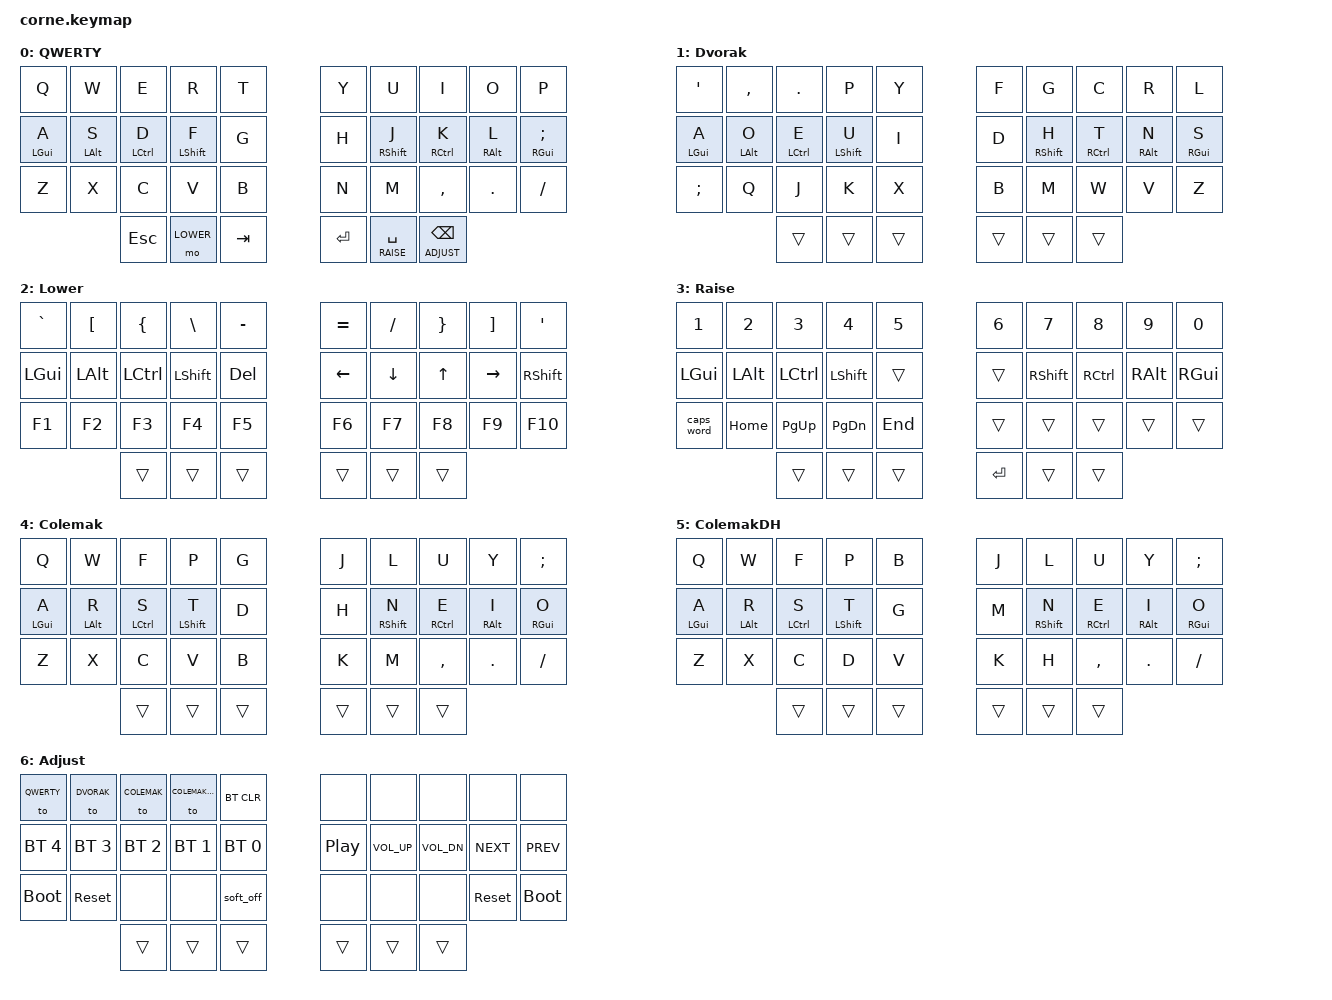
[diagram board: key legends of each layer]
/*
 * Copyright (c) 2020 The ZMK Contributors
 *
 * SPDX-License-Identifier: MIT
 */

#include <behaviors.dtsi>
#include <dt-bindings/zmk/keys.h>
#include <dt-bindings/zmk/bt.h>

#define QWERTY    0
#define DVORAK    1
#define LOWER     2
#define RAISE     3
#define COLEMAK   4
#define COLEMAKDH 5
#define ADJUST    6

&lt {
    tapping-term-ms = <200>;
    flavor = "tap-preferred";
    quick-tap-ms = <175>;
};

/ {
        behaviors {
                // Positional home-row mods: a mod only engages when the next key
                // is on the OPPOSITE hand, so same-hand rolls can never misfire.
                // Positions are 0-indexed in keymap binding order:
                //   left  hand = 0-4, 10-14, 20-24, 30-32
                //   right hand = 5-9, 15-19, 25-29, 33-35
                // The home-row mods sit at 10-13 (left) and 16-19 (right) in all
                // four layout layers, so one pair of behaviors covers them all.

                hml: home_row_mod_left {
                        compatible = "zmk,behavior-hold-tap";
                        #binding-cells = <2>;
                        bindings = <&kp>, <&kp>;
                        flavor = "balanced";
                        tapping-term-ms = <280>;
                        quick-tap-ms = <175>;
                        require-prior-idle-ms = <150>;
                        hold-trigger-key-positions = <5 6 7 8 9 15 16 17 18 19 25 26 27 28 29 33 34 35>;
                        hold-trigger-on-release;
                };

                hmr: home_row_mod_right {
                        compatible = "zmk,behavior-hold-tap";
                        #binding-cells = <2>;
                        bindings = <&kp>, <&kp>;
                        flavor = "balanced";
                        tapping-term-ms = <280>;
                        quick-tap-ms = <175>;
                        require-prior-idle-ms = <150>;
                        hold-trigger-key-positions = <0 1 2 3 4 10 11 12 13 14 20 21 22 23 24 30 31 32>;
                        hold-trigger-on-release;
                };
        };

        keymap {
                compatible = "zmk,keymap";

                qwerty_layer {
                        display-name = "QWERTY";
// -----------------------------------------------------------------------------------------
// |  Q  |    W    |    E    |    R    |  T  |   |  Y  |    U    |    I    |    O    |    P    |
// | mt(LGUI)A | mt(LALT)S | mt(LCTL)D | mt(LSFT)F |  G  |   |  H  | mt(RSFT)J | mt(RCTL)K | mt(RALT)L | mt(RGUI); |
// |  Z  |    X    |    C    |    V    |  B  |   |  N  |    M    |    ,    |    .    |    /    |
//                     | ESC | mo LOWER | TAB |   | ENT | lt RAISE SPC | lt ADJUST BSPC |
                        bindings = <
   &kp Q        &kp W        &kp E          &kp R          &kp T        &kp Y      &kp U          &kp I          &kp O        &kp P
   &hml LGUI A   &hml LALT S   &hml LCTRL D    &hml LSHIFT F   &kp G        &kp H      &hmr RSHIFT J   &hmr RCTRL K    &hmr RALT L   &hmr RGUI SEMI
   &kp Z        &kp X        &kp C          &kp V          &kp B        &kp N      &kp M          &kp COMMA      &kp DOT      &kp FSLH
                                 &kp ESC        &mo LOWER      &kp TAB      &kp ENTER  &lt RAISE SPACE    &lt ADJUST BSPC
                        >;
                };

                dvorak_layer {
                        display-name = "Dvorak";
// -----------------------------------------------------------------------------------------
// |   '   |     ,     |     .     |     P     |   Y   |   |   F   |     G     |     C     |     R     |     L     |
// | mt(LGUI)A | mt(LALT)O | mt(LCTL)E | mt(LSFT)U |   I   |   |   D   | mt(RSFT)H | mt(RCTL)T | mt(RALT)N | mt(RGUI)S |
// |   ;   |     Q     |     J     |     K     |   X   |   |   B   |     M     |     W     |     V     |     Z     |
//                     |     |     |     |   |     |     |     |
                        bindings = <
   &kp SQT        &kp COMMA      &kp DOT        &kp P          &kp Y        &kp F      &kp G          &kp C          &kp R        &kp L
   &hml LGUI A     &hml LALT O     &hml LCTRL E    &hml LSHIFT U   &kp I        &kp D      &hmr RSHIFT H   &hmr RCTRL T    &hmr RALT N   &hmr RGUI S
   &kp SEMI       &kp Q          &kp J          &kp K          &kp X        &kp B      &kp M          &kp W          &kp V        &kp Z
                             &trans         &trans         &trans       &trans     &trans         &trans
                        >;
                };

                lower_layer {
                        display-name = "Lower";
// -----------------------------------------------------------------------------------------
// |  `  |  [  |  {  |  \  |  -  |   |  =  |  /  |  }  |  ]  |  '  |
// | LGUI| LALT| LCTL| LSFT| DEL |   | LEFT| DOWN|  UP | RGT |RSFT |
// |  F1 |  F2 |  F3 |  F4 |  F5 |   |  F6 |  F7 |  F8 |  F9 | F10 |
//             |     |     |     |   |     |     |     |
                        bindings = <
   &kp GRAVE   &kp LBKT   &kp LBRC   &kp BSLH    &kp MINUS       &kp EQUAL   &kp FSLH   &kp RBRC   &kp RBKT   &kp SQT
   &kp LGUI    &kp LALT   &kp LCTRL  &kp LSHIFT  &kp DEL         &kp LEFT    &kp DOWN   &kp UP     &kp RIGHT  &kp RSHIFT
   &kp F1      &kp F2     &kp F3     &kp F4      &kp F5          &kp F6      &kp F7     &kp F8     &kp F9     &kp F10
                          &trans     &trans      &trans           &trans      &trans     &trans
                        >;
                };

                raise_layer {
                        display-name = "Raise";
// -----------------------------------------------------------------------------------------
// |  1  |  2  |  3  |  4  |  5  |   |  6  |  7  |  8  |  9  |  0  |
// | LGUI| LALT| LCTL| LSFT|     |   |     | RSFT| RCTL| RALT| RGUI|
// |CAPSW| HOME|PG_UP|PG_DN| END |   |     |     |     |     |     |
//             |     |     |     |   | ENT |     |     |
                        bindings = <
   &kp N1    &kp N2     &kp N3     &kp N4      &kp N5          &kp N6     &kp N7     &kp N8    &kp N9     &kp N0
   &kp LGUI  &kp LALT   &kp LCTRL  &kp LSHIFT  &trans          &trans     &kp RSHIFT &kp RCTRL &kp RALT   &kp RGUI
   &caps_word &kp HOME  &kp PG_UP  &kp PG_DN   &kp END         &trans     &trans     &trans    &trans     &trans
                        &trans     &trans      &trans           &kp ENTER  &trans     &trans
                        >;
                };

                colemak_layer {
                        display-name = "Colemak";
// -----------------------------------------------------------------------------------------
// |  Q  |    W    |    F    |    P    |  G  |   |  J  |    L    |    U    |    Y    |    ;    |
// | mt(LGUI)A | mt(LALT)R | mt(LCTL)S | mt(LSFT)T |  D  |   |  H  | mt(RSFT)N | mt(RCTL)E | mt(RALT)I | mt(RGUI)O |
// |  Z  |    X    |    C    |    V    |  B  |   |  K  |    M    |    ,    |    .    |    /    |
//             |     |     |     |   |     |     |     |
                        bindings = <
   &kp Q          &kp W          &kp F          &kp P          &kp G        &kp J      &kp L          &kp U          &kp Y        &kp SEMI
   &hml LGUI A     &hml LALT R     &hml LCTRL S    &hml LSHIFT T   &kp D        &kp H      &hmr RSHIFT N   &hmr RCTRL E    &hmr RALT I   &hmr RGUI O
   &kp Z          &kp X          &kp C          &kp V          &kp B        &kp K      &kp M          &kp COMMA      &kp DOT      &kp FSLH
                                 &trans         &trans         &trans       &trans     &trans         &trans
                        >;
                };

                colemakdh_layer {
                        display-name = "ColemakDH";
// -----------------------------------------------------------------------------------------
// |  Q  |    W    |    F    |    P    |  B  |   |  J  |    L    |    U    |    Y    |    ;    |
// | mt(LGUI)A | mt(LALT)R | mt(LCTL)S | mt(LSFT)T |  G  |   |  M  | mt(RSFT)N | mt(RCTL)E | mt(RALT)I | mt(RGUI)O |
// |  Z  |    X    |    C    |    D    |  V  |   |  K  |    H    |    ,    |    .    |    /    |
//             |     |     |     |   |     |     |     |
                        bindings = <
   &kp Q          &kp W          &kp F          &kp P          &kp B        &kp J      &kp L          &kp U          &kp Y        &kp SEMI
   &hml LGUI A     &hml LALT R     &hml LCTRL S    &hml LSHIFT T   &kp G        &kp M      &hmr RSHIFT N   &hmr RCTRL E    &hmr RALT I   &hmr RGUI O
   &kp Z          &kp X          &kp C          &kp D          &kp V        &kp K      &kp H          &kp COMMA      &kp DOT      &kp FSLH
                                 &trans         &trans         &trans       &trans     &trans         &trans
                        >;
                };

                adjust_layer {
                        display-name = "Adjust";
// -----------------------------------------------------------------------------------------
// | QWERTY| DVORAK |  CMK  |  CDH  | BT CLR  |   |         |         |         |         |         |
// | BT SEL4| BT SEL3| BT SEL2| BT SEL1| BT SEL0 |   |  C_PP   | VOL UP  | VOL DN  | C_NEXT  | C_PREV  |
// |  BOOT |  RESET |         |         | SOFT_OFF|   |         |         |         |  RESET  |  BOOT   |
//                     |         |         |         |   |         |         |         |
                        bindings = <
   &to QWERTY        &to DVORAK        &to COLEMAK       &to COLEMAKDH     &bt BT_CLR            &none             &none             &none             &none             &none
   &bt BT_SEL 4      &bt BT_SEL 3      &bt BT_SEL 2      &bt BT_SEL 1      &bt BT_SEL 0          &kp C_PP          &kp C_VOL_UP      &kp C_VOL_DN      &kp C_NEXT        &kp C_PREV
   &bootloader       &sys_reset        &none             &none             &soft_off             &none             &none             &none             &sys_reset        &bootloader
                                       &trans            &trans            &trans                &trans            &trans            &trans
                        >;
                };

        };
};
